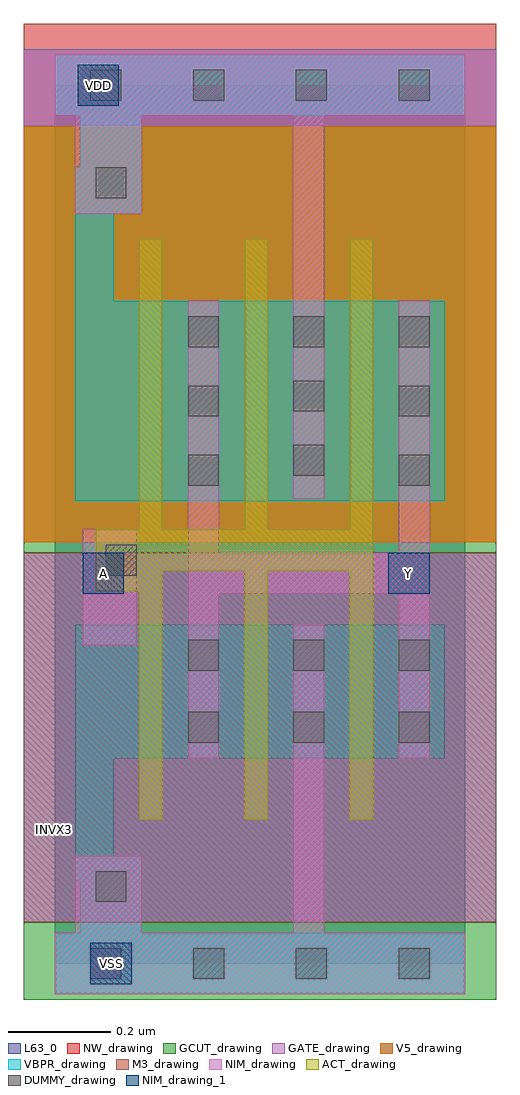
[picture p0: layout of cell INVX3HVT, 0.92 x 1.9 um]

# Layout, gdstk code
import gdstk
lib = gdstk.Library(unit=1e-6, precision=5e-10)
def R(c, l, rs):  # rectangles x0, y0, x1, y1
    for r in rs: c.add(gdstk.rectangle(r[:2], r[2:], *l))
def A(c, l, x, y, w, h, nx, ny, dx, dy):  # array of equal rectangles
    R(c, l, [(x+i*dx, y+j*dy, x+i*dx+w, y+j*dy+h) for i in range(nx) for j in range(ny)])
def P(c, l, *ps):  # polygons
    for p in ps: c.add(gdstk.Polygon(p, *l))
VBPR_drawing = (1, 0)
NW_drawing = (2, 0)
ACT_drawing = (3, 0)
GATE_drawing = (4, 0)
GCUT_drawing = (5, 0)
DUMMY_drawing = (6, 0)
NIM_drawing = (7, 0)
NIM_drawing_1 = (7, 1)
M3_drawing = (18, 0)
V5_drawing = (23, 0)
L63_0 = (63, 0)

invx3hvt = lib.new_cell('INVX3HVT')
R(invx3hvt, VBPR_drawing, [(0,-0.06,0.8,0.06), (0,1.65,0.8,1.77)])
P(invx3hvt, VBPR_drawing, [(0.76,0.66),(0.04,0.66),(0.04,0.16),(0.05,0.16),(0.05,0.06),(0.17,0.06),(0.17,0.21),(0.115,0.21),(0.115,0.4),(0.76,0.4)],
  [(0.76,1.29),(0.115,1.29),(0.115,1.46),(0.17,1.46),(0.17,1.65),(0.05,1.65),(0.05,1.55),(0.04,1.55),(0.04,0.9),(0.76,0.9)])
R(invx3hvt, NW_drawing, [(-0.06,0.82,0.86,1.83)])
P(invx3hvt, ACT_drawing, [(0.165,1.41),(0.21,1.41),(0.21,0.845),(0.37,0.845),(0.37,1.41),(0.415,1.41),(0.415,0.845),(0.575,0.845),(0.575,1.41),(0.62,1.41),(0.62,0.28),(0.575,0.28),(0.575,0.765),(0.415,0.765),(0.415,0.28),(0.37,0.28),(0.37,0.765),(0.21,0.765),(0.21,0.28),(0.165,0.28),(0.165,0.725),(0.08,0.725),(0.08,0.845),(0.165,0.845)])
R(invx3hvt, GATE_drawing, [(-0.06,0.08,0.86,0.8), (-0.06,1.63,0.86,1.78)])
R(invx3hvt, GCUT_drawing, [(-0.06,-0.07,0.86,0.08), (-0.06,0.8,0.86,1.63)])
A(invx3hvt, DUMMY_drawing, 0.07, -0.03, 0.06, 0.06, 4, 2, 0.2, 1.71)
A(invx3hvt, DUMMY_drawing, 0.26, 0.43, 0.06, 0.06, 3, 2, 0.205, 0.14)
A(invx3hvt, DUMMY_drawing, 0.26, 1.2, 0.06, 0.06, 3, 1, 0.205, 0)
R(invx3hvt, DUMMY_drawing, [(0.08,0.12,0.14,0.18), (0.1,0.755,0.16,0.815), (0.26,0.93,0.32,0.99), (0.67,0.93,0.73,0.99), (0.465,0.95,0.525,1.01), (0.26,1.065,0.32,1.125), (0.67,1.065,0.73,1.125), (0.465,1.075,0.525,1.135), (0.08,1.49,0.14,1.55)])
R(invx3hvt, NIM_drawing, [(0.04,0.06,0.17,0.21), (0.465,0.06,0.525,0.66), (0.055,0.62,0.16,0.845), (0.465,0.905,0.525,1.65), (0.04,1.46,0.17,1.65)])
P(invx3hvt, NIM_drawing, [(0.73,1.29),(0.67,1.29),(0.67,0.8),(0.32,0.8),(0.32,1.29),(0.26,1.29),(0.26,0.4),(0.32,0.4),(0.32,0.72),(0.67,0.72),(0.67,0.4),(0.73,0.4)])
R(invx3hvt, NIM_drawing_1, [(0.07,-0.04,0.15,0.04), (0.055,0.72,0.135,0.8), (0.65,0.72,0.73,0.8), (0.045,1.67,0.125,1.75)])
R(invx3hvt, M3_drawing, [(-0.06,0.08,0.86,0.8)])
R(invx3hvt, V5_drawing, [(-0.06,0.82,0.86,1.63)])
R(invx3hvt, L63_0, [(0,0,0.8,1.71)])
invx3hvt.add(gdstk.FlexPath([(0,0),(0.8,0)], 0.12, ends="flush", simple_path=True, layer=7, datatype=0))  # NIM_drawing
invx3hvt.add(gdstk.FlexPath([(0,1.71),(0.8,1.71)], 0.12, ends="flush", simple_path=True, layer=7, datatype=0))  # NIM_drawing
invx3hvt.add(gdstk.Label('VSS', (0.11,0), layer=7, texttype=1))
invx3hvt.add(gdstk.Label('Y', (0.69,0.76), layer=7, texttype=1))
invx3hvt.add(gdstk.Label('A', (0.095,0.76), layer=7, texttype=1))
invx3hvt.add(gdstk.Label('VDD', (0.085,1.71), layer=7, texttype=1))
invx3hvt.add(gdstk.Label('VSS', (0.11,0), layer=7, texttype=1))
invx3hvt.add(gdstk.Label('VDD', (0.085,1.71), layer=7, texttype=1))
invx3hvt.add(gdstk.Label('A', (0.095,0.76), layer=7, texttype=1))
invx3hvt.add(gdstk.Label('Y', (0.69,0.76), layer=7, texttype=1))
invx3hvt.add(gdstk.Label('INVX3', (0,0.26), layer=63, texttype=0))

lib.write_gds('INVX3HVT.gds')
